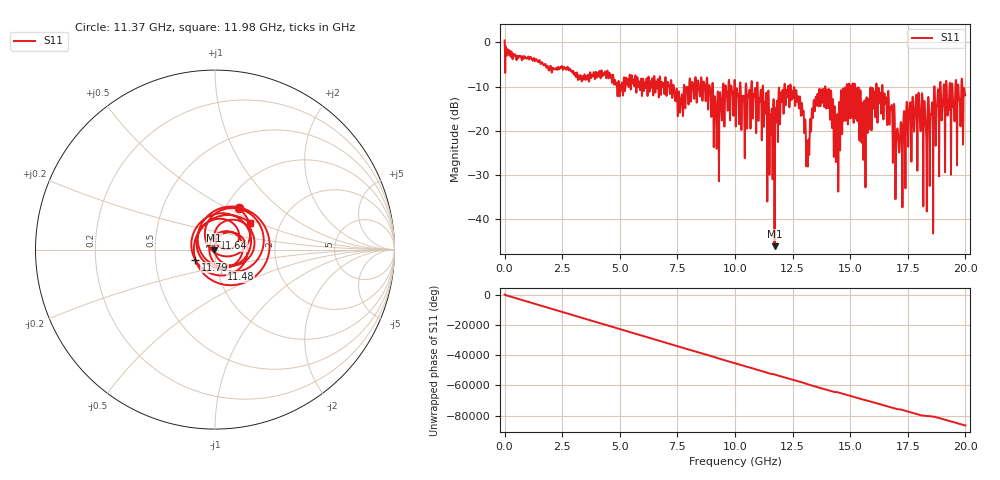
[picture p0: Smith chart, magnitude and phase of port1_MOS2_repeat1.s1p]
! MS46122B
! 2250307/22442219
! 7/28/2025 8:06:15 AM
! C:\USERS\SPARKY\DOCUMENTS\VNA_DATA\JULY28_2025\295K\PORT1_MOS2_REPEAT1.S1P
! CHANNEL.1
! TR.MEASUREMENT
! RAW.DATA
# GHZ S RI R 50.0
! FREQ.GHZ  S11RE  S11IM
!; PortSelection: Port_1
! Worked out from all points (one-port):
!   10001 points, 1 MHz to 20 GHz, reference 50 ohm
!   lowest |S11| = -46.0 dB at 11.72 GHz (marker M1), VSWR 1.01, Z = 49.6 - j0.305 ohm
!   |S11| at or under -10 dB: 12.42 GHz to 13.91 GHz (1.492 GHz wide, 11.3 % of centre); 13.92 GHz to 14.85 GHz (926.4 MHz wide, 6.44 % of centre); 16.41 GHz to 18.65 GHz (2.244 GHz wide, 12.8 % of centre) (the widest 3 of 67)
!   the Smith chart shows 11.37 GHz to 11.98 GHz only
!   S11 on the Smith chart (normalised r, x): 11.37 GHz: 1.15, +0.57; 11.48 GHz: 1.05, -0.23; 11.64 GHz: 0.99, +0.13; 11.79 GHz: 0.80, -0.09; 11.98 GHz: 1.41, +0.44
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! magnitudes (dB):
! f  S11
! 1 MHz  0.4
! 2.501 GHz  -5.6
! 5.001 GHz  -11.7
! 7.501 GHz  -13.8
! 8.713 GHz  -12.1
! 9.235 GHz  -13.2
! 10 GHz  -9.4
! 11.37 GHz  -11.5
! 11.48 GHz  -19.0
! 11.64 GHz  -23.9
! 11.72 GHz  -46.0
! 11.79 GHz  -18.1
! 11.98 GHz  -12.2
! 12.5 GHz  -11.3
! 12.89 GHz  -13.9
! 13.16 GHz  -28.0
! 13.59 GHz  -11.7
! 14.09 GHz  -10.7
! 14.39 GHz  -25.1
! 15 GHz  -13.0
! 15.58 GHz  -23.4
! 16.47 GHz  -12.5
! 17.05 GHz  -19.5
! 17.5 GHz  -19.5
! 18.05 GHz  -19.6
! 18.37 GHz  -13.2
! 18.99 GHz  -15.6
! 20 GHz  -11.9
